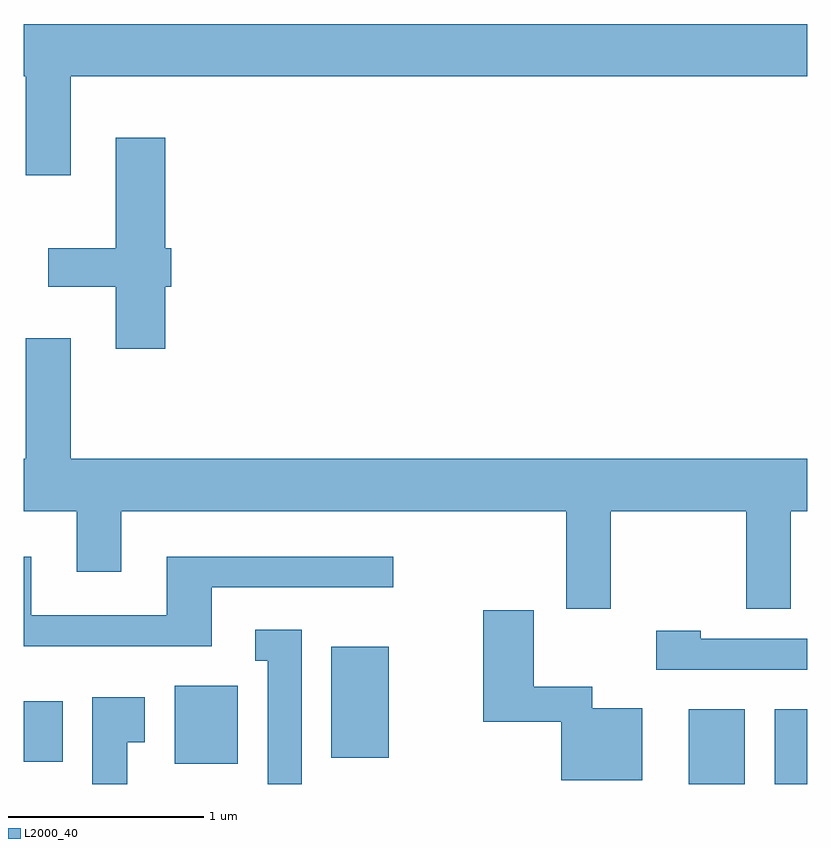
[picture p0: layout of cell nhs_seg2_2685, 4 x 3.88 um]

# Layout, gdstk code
import gdstk
lib = gdstk.Library(unit=1e-6, precision=1e-09)
def R(c, l, rs):  # rectangles x0, y0, x1, y1
    for r in rs: c.add(gdstk.rectangle(r[:2], r[2:], *l))
def P(c, l, *ps):  # polygons
    for p in ps: c.add(gdstk.Polygon(p, *l))
L2000_40 = (2000, 40)

nhs_seg2_2685 = lib.new_cell('nhs_seg2_2685')
R(nhs_seg2_2685, L2000_40, [(267.006,1055.802,267.294,1056.184), (267.446,1055.802,267.611,1056.184), (264.381,1055.906,264.704,1056.304), (263.611,1055.916,263.809,1056.224), (265.181,1055.936,265.474,1056.504)])
P(nhs_seg2_2685, L2000_40, [(263.849,1059.416),(267.611,1059.416),(267.611,1059.684),(263.611,1059.684),(263.611,1059.416),(263.621,1059.416),(263.621,1058.911),(263.849,1058.911)],
  [(264.334,1058.341),(264.364,1058.341),(264.364,1058.539),(264.334,1058.539),(264.334,1059.104),(264.081,1059.104),(264.081,1058.539),(263.736,1058.539),(263.736,1058.341),(264.081,1058.341),(264.081,1058.026),(264.334,1058.026)],
  [(266.609,1057.196),(267.301,1057.196),(267.301,1056.696),(267.529,1056.696),(267.529,1057.196),(267.611,1057.196),(267.611,1057.464),(263.849,1057.464),(263.849,1058.079),(263.621,1058.079),(263.621,1057.464),(263.611,1057.464),(263.611,1057.196),(263.881,1057.196),(263.881,1056.886),(264.109,1056.886),(264.109,1057.196),(266.381,1057.196),(266.381,1056.696),(266.609,1056.696)],
  [(264.569,1056.806),(265.498,1056.806),(265.498,1056.964),(264.341,1056.964),(264.341,1056.664),(263.649,1056.664),(263.649,1056.964),(263.611,1056.964),(263.611,1056.506),(264.569,1056.506)],
  [(266.769,1056.189),(266.514,1056.189),(266.514,1056.299),(266.214,1056.299),(266.214,1056.689),(265.956,1056.689),(265.956,1056.121),(266.356,1056.121),(266.356,1055.821),(266.769,1055.821)],
  [(265.029,1056.589),(264.793,1056.589),(264.793,1056.431),(264.856,1056.431),(264.856,1055.802),(265.029,1055.802)],
  [(267.611,1056.544),(267.069,1056.544),(267.069,1056.584),(266.841,1056.584),(266.841,1056.386),(267.611,1056.386)],
  [(264.139,1056.016),(264.229,1056.016),(264.229,1056.244),(263.961,1056.244),(263.961,1055.802),(264.139,1055.802)])

lib.write_gds('nhs_seg2_2685.gds')
